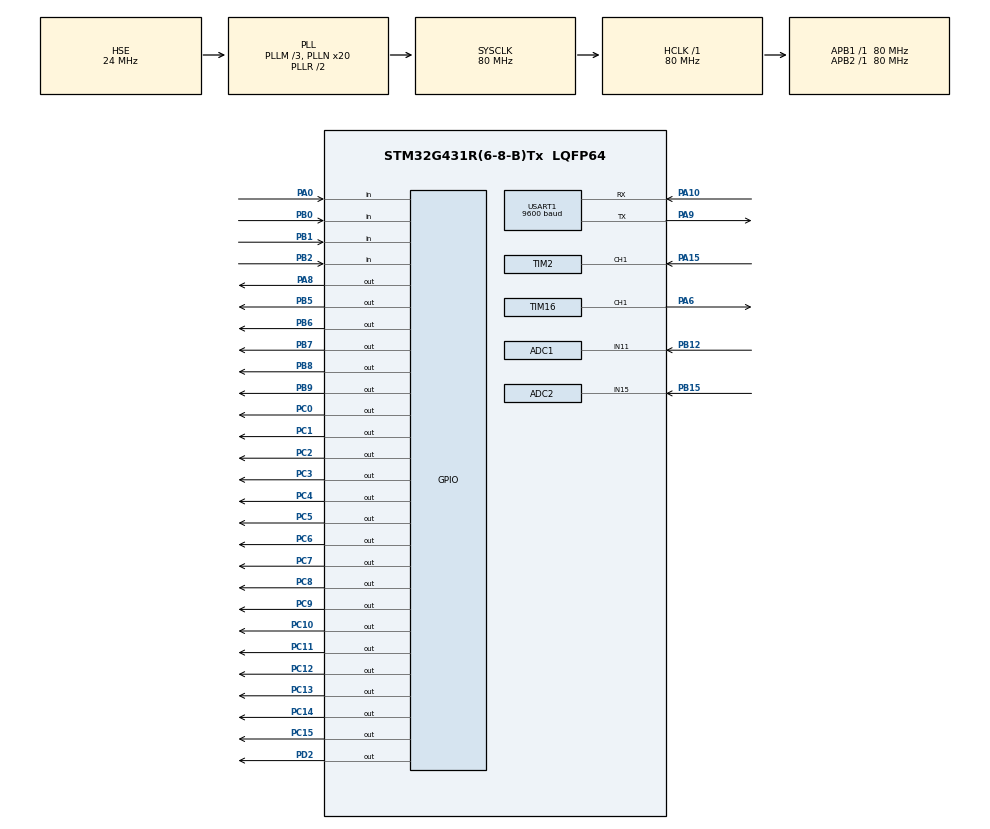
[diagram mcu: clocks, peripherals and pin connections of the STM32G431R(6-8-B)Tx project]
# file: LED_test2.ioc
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ADC1.Channel-0\#ChannelRegularConversion=ADC_CHANNEL_11
ADC1.NbrOfConversionFlag=1
ADC1.OffsetNumber-0\#ChannelRegularConversion=ADC_OFFSET_NONE
ADC1.Rank-0\#ChannelRegularConversion=1
ADC1.SamplingTime-0\#ChannelRegularConversion=ADC_SAMPLETIME_2CYCLES_5
ADC1.master=1
ADC2.Channel-0\#ChannelRegularConversion=ADC_CHANNEL_15
ADC2.NbrOfConversionFlag=1
ADC2.OffsetNumber-0\#ChannelRegularConversion=ADC_OFFSET_NONE
ADC2.Rank-0\#ChannelRegularConversion=1
ADC2.SamplingTime-0\#ChannelRegularConversion=ADC_SAMPLETIME_2CYCLES_5
Mcu.Family=STM32G4
Mcu.Name=STM32G431R(6-8-B)Tx
Mcu.Package=LQFP64
NVIC.PriorityGroup=NVIC_PRIORITYGROUP_4
NVIC.TIM2_IRQn=true\:0\:0\:false\:false\:true\:true\:true\:true
NVIC.TIM3_IRQn=true\:0\:0\:false\:false\:true\:true\:true\:true
NVIC.USART1_IRQn=true\:0\:0\:false\:false\:true\:true\:true\:true
PA0.GPIO_PuPd=GPIO_PULLUP
PA0.Signal=GPIO_Input
PA10.Mode=Asynchronous
PA10.Signal=USART1_RX
PA13.Mode=Serial_Wire
PA13.Signal=SYS_JTMS-SWDIO
PA14.Mode=Serial_Wire
PA14.Signal=SYS_JTCK-SWCLK
PA15.Signal=S_TIM2_CH1
PA6.Signal=S_TIM16_CH1
PA8.Signal=GPIO_Output
PA9.Mode=Asynchronous
PA9.Signal=USART1_TX
PB0.GPIO_PuPd=GPIO_PULLUP
PB0.Signal=GPIO_Input
PB1.GPIO_PuPd=GPIO_PULLUP
PB1.Signal=GPIO_Input
PB12.Mode=IN11-Single-Ended
PB12.Signal=ADC1_IN11
PB15.Mode=IN15-Single-Ended
PB15.Signal=ADC2_IN15
PB2.GPIO_PuPd=GPIO_PULLUP
PB2.Signal=GPIO_Input
PB5.Signal=GPIO_Output
PB6.Signal=GPIO_Output
PB7.Signal=GPIO_Output
PB8-BOOT0.Signal=GPIO_Output
PB9.Signal=GPIO_Output
PC0.Signal=GPIO_Output
PC1.Signal=GPIO_Output
PC10.Signal=GPIO_Output
PC11.Signal=GPIO_Output
PC12.PinState=GPIO_PIN_SET
PC12.Signal=GPIO_Output
PC13.PinState=GPIO_PIN_SET
PC13.Signal=GPIO_Output
PC14-OSC32_IN.PinState=GPIO_PIN_SET
PC14-OSC32_IN.Signal=GPIO_Output
PC15-OSC32_OUT.PinState=GPIO_PIN_SET
PC15-OSC32_OUT.Signal=GPIO_Output
PC2.Signal=GPIO_Output
PC3.Signal=GPIO_Output
PC4.Signal=GPIO_Output
PC5.Signal=GPIO_Output
PC6.Signal=GPIO_Output
PC7.Signal=GPIO_Output
PC8.PinState=GPIO_PIN_SET
PC8.Signal=GPIO_Output
PC9.PinState=GPIO_PIN_SET
PC9.Signal=GPIO_Output
PD2.Signal=GPIO_Output
PF0-OSC_IN.Mode=HSE-External-Oscillator
PF0-OSC_IN.Signal=RCC_OSC_IN
PF1-OSC_OUT.Mode=HSE-External-Oscillator
PF1-OSC_OUT.Signal=RCC_OSC_OUT
ProjectManager.HeapSize=0x200
ProjectManager.StackSize=0x400
ProjectManager.TargetToolchain=MDK-ARM V5.32
RCC.ADC12Freq_Value=80000000
RCC.AHBFreq_Value=80000000
RCC.APB1Freq_Value=80000000
RCC.APB1TimFreq_Value=80000000
RCC.APB2Freq_Value=80000000
RCC.APB2TimFreq_Value=80000000
RCC.CortexFreq_Value=80000000
RCC.EXTERNAL_CLOCK_VALUE=12288000
RCC.HCLKFreq_Value=80000000
RCC.HSE_VALUE=24000000
RCC.HSI48_VALUE=48000000
RCC.HSI_VALUE=16000000
RCC.LSE_VALUE=32768
RCC.PLLM=RCC_PLLM_DIV3
RCC.PLLN=20
RCC.PLLSourceVirtual=RCC_PLLSOURCE_HSE
RCC.RTCClockSelection=RCC_RTCCLKSOURCE_HSE_DIV32
RCC.SYSCLKFreq_VALUE=80000000
RCC.SYSCLKSource=RCC_SYSCLKSOURCE_PLLCLK
RCC.USBFreq_Value=80000000
RCC.VCOOutputFreq_Value=160000000
RTC.AsynchPrediv=125
RTC.Date=2
RTC.Format=RTC_FORMAT_BCD
RTC.Hours=23
RTC.Minutes=58
RTC.Seconds=30
RTC.SynchPrediv=6000
RTC.Year=21
SH.S_TIM16_CH1.0=TIM16_CH1,PWM Generation1 CH1
SH.S_TIM2_CH1.0=TIM2_CH1,Input_Capture1_from_TI1
TIM16.Channel=TIM_CHANNEL_1
TIM16.PeriodNoDither=100-1
TIM16.Prescaler=800-1
TIM2.Channel-Input_Capture1_from_TI1=TIM_CHANNEL_1
TIM2.Channel-Input_Capture2_from_TI1_63=TIM_CHANNEL_2
TIM2.ICPolarity_CH2=TIM_INPUTCHANNELPOLARITY_FALLING
TIM2.Prescaler=80-1
TIM3.PeriodNoDither=10000-1
TIM3.Prescaler=80-1
USART1.BaudRate=9600
USART1.VirtualMode-Asynchronous=VM_ASYNC
VP_RTC_VS_RTC_Activate.Mode=RTC_Enabled
VP_RTC_VS_RTC_Calendar.Mode=RTC_Calendar
VP_SYS_VS_DBSignals.Mode=DisableDeadBatterySignals
VP_TIM16_VS_ClockSourceINT.Mode=Enable_Timer
VP_TIM2_VS_ClockSourceINT.Mode=Internal
VP_TIM2_VS_indirect_ch1.Mode=Input_Capture2_from_TI1_63
VP_TIM3_VS_ClockSourceINT.Mode=Internal
board=custom

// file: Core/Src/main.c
/* USER CODE BEGIN Header */
/**
  ******************************************************************************
  * @file           : main.c
  * @brief          : Main program body
  ******************************************************************************
  * @attention
  *
  * <h2><center>&copy; Copyright (c) 2022 STMicroelectronics.
  * All rights reserved.</center></h2>
  *
  * This software component is licensed by ST under BSD 3-Clause license,
  * the "License"; You may not use this file except in compliance with the
  * License. You may obtain a copy of the License at:
  *                        opensource.org/licenses/BSD-3-Clause
  *
  ******************************************************************************
  */
/* USER CODE END Header */
#include "main.h"
#include "adc.h"
#include "rtc.h"
#include "tim.h"
#include "usart.h"
#include "gpio.h"

/* USER CODE BEGIN Includes */
#include "led.h"
#include "lcd.h"
#include "stdio.h"
#include "string.h"
#include "badc.h"
#include "i2c - hal.h"
/* USER CODE END Includes */

/* USER CODE BEGIN PTD */
extern uchar single_key_flag[4],long_key_flag[4],double_key_flag[4];
extern uint key_time[4];
extern uint  frq,pulse;//捕获
/* USER CODE END PTD */

void SystemClock_Config(void);

int main(void)
{

  /* MCU Configuration--------------------------------------------------------*/

  /* Reset of all peripherals, Initializes the Flash interface and the Systick. */
  HAL_Init();

  /* Configure the system clock */
  SystemClock_Config();

  /* Initialize all configured peripherals */
  MX_GPIO_Init();
  MX_TIM3_Init();
  MX_USART1_UART_Init();
  MX_ADC1_Init();
  MX_ADC2_Init();
  MX_RTC_Init();
  MX_TIM16_Init();
  MX_TIM2_Init();
  /* USER CODE BEGIN 2 */
	HAL_TIM_Base_Start_IT (&htim3);//tim3启动
	//HAL_TIM_PWM_Start(&htim16,TIM_CHANNEL_1);//打开PWM
	HAL_TIM_IC_Start_IT(&htim2,TIM_CHANNEL_1);//捕获中断开启
	HAL_TIM_IC_Start_IT(&htim2,TIM_CHANNEL_2);
	uint8_t temp[1];
	HAL_UART_Receive_IT(&huart1, temp, 1);//接收中断打开
	LED_Disp(0x00);//LED初始化
	uchar led_sta=0x01;

	LCD_Init();//LCD初始化
	LCD_Clear(Blue);
	LCD_SetBackColor(Blue);
	LCD_SetTextColor(White);
	LCD_DisplayStringLine(Line0, (uint8_t *)"                    ");
	LCD_DisplayStringLine(Line1, (uint8_t *)"                    ");
	LCD_DisplayStringLine(Line2, (uint8_t *)"                    ");
	LCD_DisplayStringLine(Line3, (uint8_t *)"                    ");
	LCD_DisplayStringLine(Line4, (uint8_t *)"                    ");

	LCD_SetBackColor(White);
	LCD_SetTextColor(Blue);

	LCD_DisplayStringLine(Line5, (uint8_t *)"                    ");
	LCD_DisplayStringLine(Line6, (uint8_t *)"                    ");
	LCD_DisplayStringLine(Line7, (uint8_t *)"                    ");
	LCD_DisplayStringLine(Line8, (uint8_t *)"                    ");
	LCD_DisplayStringLine(Line9, (uint8_t *)"                    ");

//	uchar er_data;//eeprom操作 复位一次count增加1
//	er_data=eeprom_read(1);
//	er_data++;
//	eeprom_write(1,er_data);
//	char text[30];
//	sprintf(text,"    count:%d",er_data);
//	LCD_DisplayStringLine(Line6,(uint8_t *)text);

  /* USER CODE END 2 */

  /* Infinite loop */
  while (1)
  {

    /* USER CODE BEGIN 3 */
		LCD_SetBackColor(White);
		LCD_SetTextColor(Red);
		char text[30];

		RTC_TimeTypeDef time;//RTC相关
		RTC_DateTypeDef date;
		HAL_RTC_GetTime(&hrtc,&time,RTC_FORMAT_BIN);//单独获取时间不获取日期结果有误。
		HAL_RTC_GetDate(&hrtc,&date,RTC_FORMAT_BIN);//RTC_FORMAT参数选BIN而不是BCD（与cubemx配置无关）否则要进行数值转换才能用
		sprintf(text,"time:%d-%d-%d          ",time.Hours,time.Minutes,time.Seconds);
		LCD_DisplayStringLine(Line1,(uint8_t *)text);
		sprintf(text,"date:%d-%d-%d          ",date.Year,date.Month,date.Date);
		LCD_DisplayStringLine(Line2,(uint8_t *)text);

		sprintf(text,"    number:%d      ",key_time[0]);
		LCD_DisplayStringLine(Line7,(uint8_t *)text);//局部刷新
		HAL_UART_Transmit (&huart1, (uint8_t *)text, strlen(text), 50);

		sprintf(text,"    adc1:%.2fV",getADC(&hadc1));
		LCD_DisplayStringLine(Line8,(uint8_t *)text);//局部刷新adc（第二个电位器）

		sprintf(text,"    adc2:%.2fV",getADC(&hadc2));
		LCD_DisplayStringLine(Line9,(uint8_t *)text);//局部刷新adc

		static uint pwm_num=0;
		static uchar pwm_dir=2;//0:加 ，1：减，2：关闭
		if(single_key_flag[2]==1)//3被单次按下
		{
			HAL_TIM_PWM_Start(&htim16,TIM_CHANNEL_1);//打开PWM
			pwm_dir=0;
			single_key_flag[2]=0;//用完标记
		}
		if(single_key_flag[3]==1)//4被单次按下
		{
			HAL_TIM_PWM_Stop(&htim16,TIM_CHANNEL_1);//关闭PWM
			pwm_dir=2;
			single_key_flag[3]=0;//用完标记
		}

		if(pwm_dir==0)
		{
			pwm_num++;
			if(pwm_num==100)pwm_dir=1;
		}
		else if(pwm_dir==1)
		{
			pwm_num--;
			if(pwm_num==0) pwm_dir=0;
		}
		__HAL_TIM_SetCompare(&htim16,TIM_CHANNEL_1,pwm_num);
		sprintf(text,"    pwm:%d          ",pwm_num);
		LCD_DisplayStringLine(Line3,(uint8_t *)text);//局部刷新pwm

		sprintf(text,"    FRQ:%dHz          ",frq);
		LCD_DisplayStringLine(Line4,(uint8_t *)text);//局部刷新捕获
		sprintf(text,"    pulse:%d          ",pulse);
		LCD_DisplayStringLine(Line5,(uint8_t *)text);//局部刷新捕获

		if(single_key_flag[0]==1)//1被单次按下
		{
			led_sta=led_sta<<1;
			LED_Disp(led_sta);
			single_key_flag[0]=0;//用完标记
		}
		if(long_key_flag[0]==1)//700ms长按键
		{
			LED_Disp(0x80);
			long_key_flag[0]=0;
		}
		if(double_key_flag[0]==1)//双击判断
		{
			LED_Disp(0xaa);
			double_key_flag[0]=0;
		}
  }

  /* USER CODE END 3 */
}

void SystemClock_Config(void)
{
  RCC_OscInitTypeDef RCC_OscInitStruct = {0};
  RCC_ClkInitTypeDef RCC_ClkInitStruct = {0};

  /** Configure the main internal regulator output voltage
  */
  HAL_PWREx_ControlVoltageScaling(PWR_REGULATOR_VOLTAGE_SCALE1);

  /** Initializes the RCC Oscillators according to the specified parameters
  * in the RCC_OscInitTypeDef structure.
  */
  RCC_OscInitStruct.OscillatorType = RCC_OSCILLATORTYPE_HSE;
  RCC_OscInitStruct.HSEState = RCC_HSE_ON;
  RCC_OscInitStruct.PLL.PLLState = RCC_PLL_ON;
  RCC_OscInitStruct.PLL.PLLSource = RCC_PLLSOURCE_HSE;
  RCC_OscInitStruct.PLL.PLLM = RCC_PLLM_DIV3;
  RCC_OscInitStruct.PLL.PLLN = 20;
  RCC_OscInitStruct.PLL.PLLP = RCC_PLLP_DIV2;
  RCC_OscInitStruct.PLL.PLLQ = RCC_PLLQ_DIV2;
  RCC_OscInitStruct.PLL.PLLR = RCC_PLLR_DIV2;
  if (HAL_RCC_OscConfig(&RCC_OscInitStruct) != HAL_OK)
  {
    Error_Handler();
  }

  /** Initializes the CPU, AHB and APB buses clocks
  */
  RCC_ClkInitStruct.ClockType = RCC_CLOCKTYPE_HCLK|RCC_CLOCKTYPE_SYSCLK
                              |RCC_CLOCKTYPE_PCLK1|RCC_CLOCKTYPE_PCLK2;
  RCC_ClkInitStruct.SYSCLKSource = RCC_SYSCLKSOURCE_PLLCLK;
  RCC_ClkInitStruct.AHBCLKDivider = RCC_SYSCLK_DIV1;
  RCC_ClkInitStruct.APB1CLKDivider = RCC_HCLK_DIV1;
  RCC_ClkInitStruct.APB2CLKDivider = RCC_HCLK_DIV1;

  if (HAL_RCC_ClockConfig(&RCC_ClkInitStruct, FLASH_LATENCY_2) != HAL_OK)
  {
    Error_Handler();
  }
}

void Error_Handler(void)
{
  __disable_irq();
  while (1)
  {
  }
}
